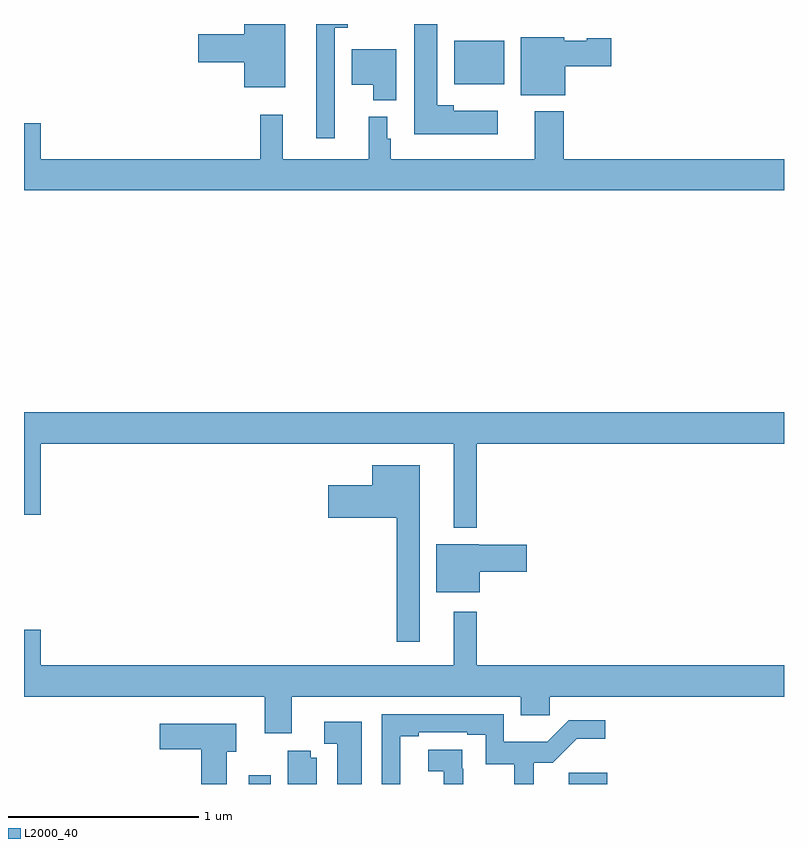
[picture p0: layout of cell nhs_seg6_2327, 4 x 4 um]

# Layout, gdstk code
import gdstk
lib = gdstk.Library(unit=1e-6, precision=1e-09)
def R(c, l, rs):  # rectangles x0, y0, x1, y1
    for r in rs: c.add(gdstk.rectangle(r[:2], r[2:], *l))
def P(c, l, *ps):  # polygons
    for p in ps: c.add(gdstk.Polygon(p, *l))
L2000_40 = (2000, 40)

nhs_seg6_2327 = lib.new_cell('nhs_seg6_2327')
R(nhs_seg6_2327, L2000_40, [(250.182,989.5,250.299,989.545), (251.867,989.5,252.07,989.56), (251.264,993.182,251.527,993.412)])
P(nhs_seg6_2327, L2000_40, [(251.494,993.043),(251.263,993.043),(251.263,993.073),(251.176,993.073),(251.176,993.5),(251.054,993.5),(251.054,992.921),(251.494,992.921)],
  [(250.375,993.5),(250.16,993.5),(250.16,993.446),(249.918,993.446),(249.918,993.299),(250.16,993.299),(250.16,993.167),(250.375,993.167)],
  [(250.635,993.479),(250.704,993.479),(250.704,993.5),(250.538,993.5),(250.538,992.898),(250.635,992.898)],
  [(251.848,993.278),(252.091,993.278),(252.091,993.425),(251.961,993.425),(251.961,993.412),(251.844,993.412),(251.844,993.43),(251.615,993.43),(251.615,993.125),(251.848,993.125)],
  [(250.96,993.367),(250.724,993.367),(250.724,993.179),(250.838,993.179),(250.838,993.098),(250.96,993.098)],
  [(253,992.788),(251.84,992.788),(251.84,993.04),(251.687,993.04),(251.687,992.788),(250.931,992.788),(250.931,992.895),(250.912,992.895),(250.912,993.013),(250.814,993.013),(250.814,992.788),(250.361,992.788),(250.361,993.022),(250.243,993.022),(250.243,992.788),(249.088,992.788),(249.088,992.977),(249,992.977),(249,992.624),(253,992.624)],
  [(251.383,991.292),(253,991.292),(253,991.456),(249,991.456),(249,990.918),(249.088,990.918),(249.088,991.292),(251.261,991.292),(251.261,990.848),(251.383,990.848)],
  [(251.083,991.177),(250.832,991.177),(250.832,991.072),(250.602,991.072),(250.602,990.902),(250.962,990.902),(250.962,990.249),(251.083,990.249)],
  [(251.398,990.616),(251.647,990.616),(251.647,990.758),(251.394,990.758),(251.394,990.763),(251.171,990.763),(251.171,990.509),(251.398,990.509)],
  [(250.408,989.96),(251.615,989.96),(251.615,989.862),(251.767,989.862),(251.767,989.96),(253,989.96),(253,990.124),(251.383,990.124),(251.383,990.406),(251.261,990.406),(251.261,990.124),(249.088,990.124),(249.088,990.313),(249,990.313),(249,989.96),(250.268,989.96),(250.268,989.766),(250.408,989.766)],
  [(250.981,989.752),(251.077,989.752),(251.077,989.772),(251.333,989.772),(251.333,989.758),(251.43,989.758),(251.43,989.605),(251.581,989.605),(251.581,989.5),(251.684,989.5),(251.684,989.613),(251.783,989.613),(251.909,989.738),(252.058,989.738),(252.058,989.835),(251.868,989.835),(251.755,989.722),(251.526,989.722),(251.526,989.868),(250.884,989.868),(250.884,989.5),(250.981,989.5)],
  [(250.777,989.827),(250.581,989.827),(250.581,989.712),(250.649,989.712),(250.649,989.5),(250.777,989.5)],
  [(250.066,989.671),(250.117,989.671),(250.117,989.818),(249.714,989.818),(249.714,989.684),(249.932,989.684),(249.932,989.5),(250.066,989.5)],
  [(251.312,989.579),(251.306,989.579),(251.306,989.681),(251.127,989.681),(251.127,989.566),(251.209,989.566),(251.209,989.5),(251.312,989.5)],
  [(250.54,989.638),(250.508,989.638),(250.508,989.675),(250.388,989.675),(250.388,989.5),(250.54,989.5)])

lib.write_gds('nhs_seg6_2327.gds')
